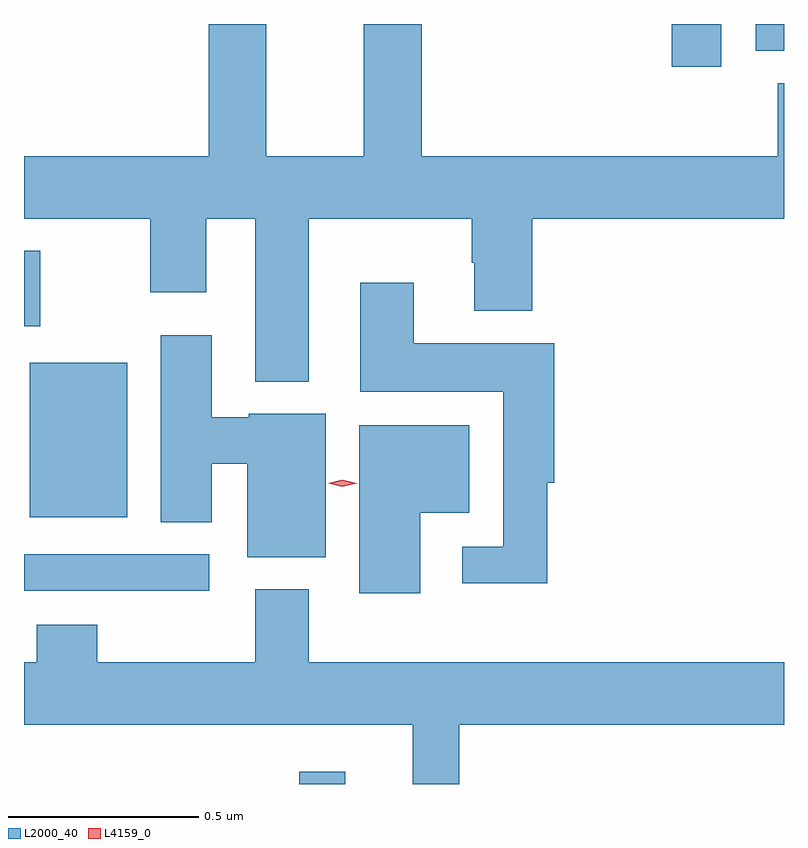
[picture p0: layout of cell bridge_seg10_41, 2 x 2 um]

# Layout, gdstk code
import gdstk
lib = gdstk.Library(unit=1e-6, precision=1e-09)
def R(c, l, rs):  # rectangles x0, y0, x1, y1
    for r in rs: c.add(gdstk.rectangle(r[:2], r[2:], *l))
def P(c, l, *ps):  # polygons
    for p in ps: c.add(gdstk.Polygon(p, *l))
L2000_40 = (2000, 40)
L4159_0 = (4159, 0)

bridge_seg10_41 = lib.new_cell('bridge_seg10_41')
R(bridge_seg10_41, L2000_40, [(928.95,1293.5,929.071,1293.532), (928.226,1294.008,928.714,1294.104), (928.241,1294.202,928.498,1294.609), (928.226,1294.704,928.269,1294.903), (929.93,1295.388,930.061,1295.5), (930.152,1295.429,930.226,1295.5)])
P(bridge_seg10_41, L2000_40, [(928.975,1294.988),(929.404,1294.988),(929.404,1294.872),(929.411,1294.872),(929.411,1294.745),(929.564,1294.745),(929.564,1294.988),(930.226,1294.988),(930.226,1295.344),(930.209,1295.344),(930.209,1295.152),(929.273,1295.152),(929.273,1295.5),(929.12,1295.5),(929.12,1295.152),(928.864,1295.152),(928.864,1295.5),(928.712,1295.5),(928.712,1295.152),(928.226,1295.152),(928.226,1294.988),(928.558,1294.988),(928.558,1294.794),(928.705,1294.794),(928.705,1294.988),(928.835,1294.988),(928.835,1294.559),(928.975,1294.559)],
  [(929.603,1294.293),(929.621,1294.293),(929.621,1294.66),(929.251,1294.66),(929.251,1294.819),(929.111,1294.819),(929.111,1294.532),(929.487,1294.532),(929.487,1294.125),(929.379,1294.125),(929.379,1294.028),(929.603,1294.028)],
  [(929.02,1294.474),(928.818,1294.474),(928.818,1294.465),(928.72,1294.465),(928.72,1294.681),(928.586,1294.681),(928.586,1294.189),(928.72,1294.189),(928.72,1294.343),(928.814,1294.343),(928.814,1294.097),(929.02,1294.097)],
  [(929.269,1294.214),(929.398,1294.214),(929.398,1294.444),(929.108,1294.444),(929.108,1294.002),(929.269,1294.002)],
  [(929.371,1293.656),(930.226,1293.656),(930.226,1293.82),(928.975,1293.82),(928.975,1294.012),(928.835,1294.012),(928.835,1293.82),(928.419,1293.82),(928.419,1293.919),(928.259,1293.919),(928.259,1293.82),(928.226,1293.82),(928.226,1293.656),(929.249,1293.656),(929.249,1293.5),(929.371,1293.5)])
P(bridge_seg10_41, L4159_0, [(929.064,1294.282),(929.026,1294.291),(929.026,1294.292),(929.026,1294.292),(929.064,1294.301),(929.102,1294.292),(929.103,1294.291),(929.102,1294.291)])

lib.write_gds('bridge_seg10_41.gds')
